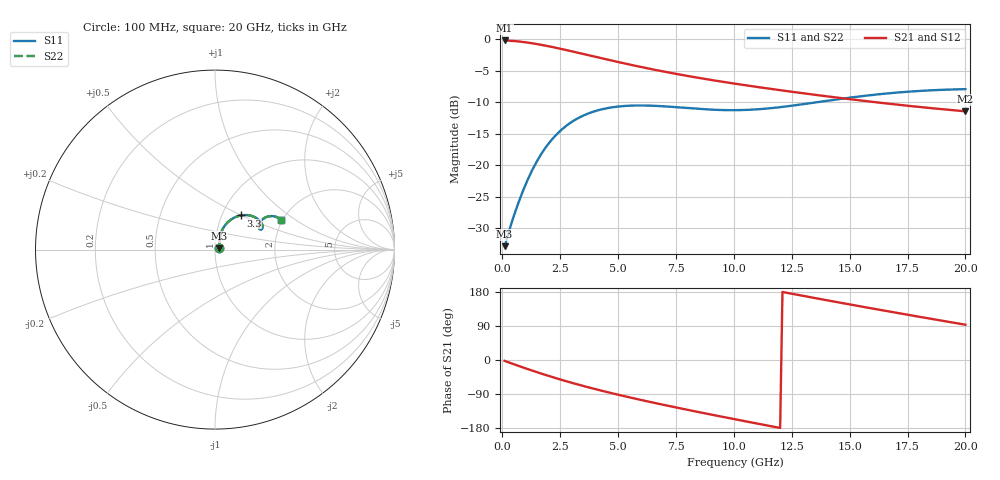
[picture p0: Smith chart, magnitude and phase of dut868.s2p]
! Touchstone file exported from HFSS 2024.1.0
!  File:  C:/UserFiles/LocalFiles/RDL_TSV_Batchsim/temp_RDL_TSV_868_1779926624.aedt
!  Generated:  08:19:53 AM May 28, 2026
!  Design:  RDL_TSV
!  Project:  temp_RDL_TSV_868_1779926624
!  Setup:  Setup1
!  Solution:  Sweep
! Variables:
!  dtsv = 13.74um
!  hbump = 3um
!  htsv = 55.82um
!  ldown = 505.64um
!  lrdl = 661.52um
!  p = 40
!  p1 = 46.81um
!  rhole = 10um
!  subl = 4163um
!  t = 450um
!  tdown = 4.01um
!  trdl = 4.5um
!  viad = 10um
!  wdown = 16.46um
!  wrdl = 15.42um
!  xbump = 18um
# GHz S MA R 50.000000
! Terminal data exported
! Port[1] = TM1_1_T1
! Port[2] = TM1_4_T1
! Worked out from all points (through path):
!   200 points, 100 MHz to 20 GHz, reference 50 ohm
!   highest |S21| = -0.19 dB at 100 MHz (marker M1); lowest = -11.4 dB at 20 GHz (marker M2)
!   group delay of S21, straight-line fit = 35.2 ps
!   lowest |S11| = -32.9 dB at 100 MHz (marker M3), VSWR 1.05, Z = 52.2 + j0.718 ohm
!   |S11| at or under -10 dB: start of sweep to 13.59 GHz
!   |S22| runs from -32.9 to -7.9 dB; largest |S21 - S12| = 7.6e-15
!   S11 on the Smith chart (normalised r, x): 100 MHz: 1.04, +0.01; 3.3 GHz: 1.22, +0.49; 20 GHz: 1.96, +0.77
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0.1  0.02275 17.6  0.978 -2.3  0.978 -2.3  0.02275 17.6
! Gamma 0 0 0 0
! Port Impedance 50 0 50 0
0.5  0.03964 52.6  0.9681 -11.2  0.9681 -11.2  0.03964 52.6
0.8  0.05652 63.4  0.956 -17.7  0.956 -17.7  0.05652 63.4
1.1  0.07684 68.6  0.9404 -24.0  0.9404 -24.0  0.07684 68.5
1.5  0.1077 70.1  0.9153 -32.2  0.9153 -32.2  0.1077 70.1
1.9  0.1403 68.2  0.8869 -40.1  0.8869 -40.1  0.1403 68.1
2.3  0.1721 64.5  0.8567 -47.7  0.8567 -47.7  0.1721 64.5
2.8  0.2079 58.9  0.8177 -56.7  0.8177 -56.7  0.2078 58.9
3.3  0.2377 53.1  0.779 -65.2  0.779 -65.2  0.2376 53.1
3.5  0.2478 50.8  0.7638 -68.6  0.7638 -68.6  0.2477 50.8
4.2  0.2749 43.4  0.7128 -79.7  0.7128 -79.7  0.2747 43.4
5.1  0.2933 35.4  0.6534 -93.0  0.6534 -93.0  0.293 35.4
5.9  0.2979 30.0  0.607 -104.2  0.607 -104.2  0.2975 30.0
6.8  0.2947 25.9  0.5618 -116.2  0.5618 -116.2  0.2942 25.9
8.4  0.2806 23.3  0.4963 -136.4  0.4963 -136.4  0.28 23.3
10.1  0.2734 25.9  0.4423 -157.0  0.4423 -157.0  0.2728 26.0
11.7  0.2848 30.0  0.401 -175.9  0.401 -175.9  0.2842 30.1
13.4  0.3127 32.4  0.3641 164.6  0.3641 164.6  0.3122 32.5
15  0.3437 32.2  0.3344 146.7  0.3344 146.7  0.3433 32.3
16.7  0.3724 30.0  0.3076 128.1  0.3076 128.1  0.3722 30.1
18.3  0.3913 27.2  0.2864 111.0  0.2864 111.0  0.3911 27.3
20  0.4016 24.2  0.2678 93.1  0.2678 93.1  0.4015 24.3
